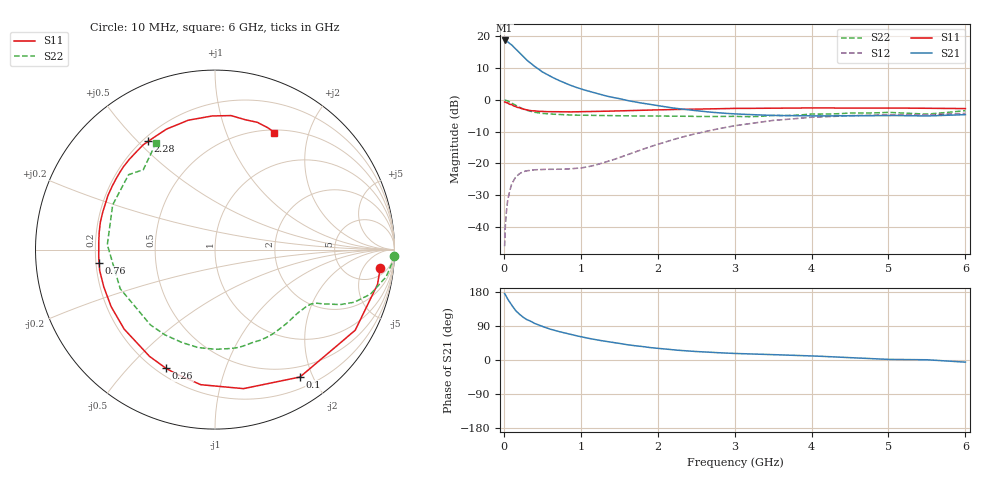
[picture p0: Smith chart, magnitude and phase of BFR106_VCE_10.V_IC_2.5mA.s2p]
! Infineon Technologies  Discrete & RF Semiconductors
! BFR106
! VCE =  10. V,  IC =  2.5 mA
! Common Emitter S-Parameters:  Nov 2015
# GHz  S  MA  R  50
!  f  S11  S21  S12  S22
! GHz  MAG  ANG  MAG  ANG  MAG  ANG  MAG  ANG
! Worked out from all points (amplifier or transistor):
!   210 points, 10 MHz to 6 GHz, reference 50 ohm
!   highest |S21| = 18.7 dB at 10 MHz (marker M1)
!   |S21| within 3 dB of that: start of sweep to 168 MHz
!   unconditionally stable (mu >= 1): 754.7 MHz to 1.821 GHz; 4.278 GHz to end of sweep
!   at 185 MHz: K = 0.26, MSG = 19.5 dB, |S12| = -23.6 dB
!   at 1.52 GHz: K = 1.14, MAG = 6.9 dB, |S12| = -18.0 dB
!   at 6 GHz: K = 1.02, MAG = -1.1 dB, |S12| = -4.2 dB
!   S11 on the Smith chart (normalised r, x): 10 MHz: 9, -12; 100 MHz: 0.35, -1.82; 260 MHz: 0.24, -0.64; 760 MHz: 0.21, -0.05; 2.28 GHz: 0.22, +0.54; 6 GHz: 0.53, +1.49
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0.01  0.9266 -6.2  8.62 175.4  0.005 89.4  0.9975 -1.9
0.02  0.926 -12.1  8.597 172.3  0.0105 85.5  0.9925 -3.8
0.025  0.9158 -15.0  8.512 170.4  0.0131 81.4  0.9875 -4.6
0.05  0.9012 -29.9  8.23 160.6  0.0262 73.3  0.9659 -9.0
0.1  0.8533 -56.3  7.386 145.1  0.0466 61.2  0.9011 -16.0
0.15  0.7907 -78.4  6.424 130.9  0.0601 50.5  0.8275 -20.8
0.2  0.7568 -96.0  5.58 121.3  0.0686 43.9  0.7688 -23.4
0.26  0.7153 -112.5  4.696 111.6  0.0747 38.1  0.7125 -25.3
0.3  0.6979 -121.5  4.219 106.6  0.0767 35.9  0.6862 -26.2
0.4  0.6726 -138.8  3.374 96.5  0.0796 32.1  0.6388 -27.9
0.44  0.6638 -143.7  3.121 93.6  0.0801 31.7  0.6289 -28.6
0.5  0.6602 -151.3  2.76 88.4  0.0808 31.1  0.6143 -29.6
0.6  0.6535 -161.4  2.363 81.6  0.0809 32.2  0.6005 -31.7
0.76  0.6498 -173.6  1.921 72.9  0.0813 36.4  0.586 -35.7
1.02  0.6528 170.6  1.464 60.7  0.0857 48.0  0.5744 -43.2
1.4  0.6683 153.3  1.103 46.8  0.1118 64.8  0.5692 -56.2
2.02  0.6971 130.2  0.803 30.2  0.2037 71.7  0.5574 -81.6
2.28  0.7087 121.7  0.727 25.5  0.2526 69.4  0.5527 -93.7
3.1  0.7358 99.6  0.595 16.7  0.4074 53.6  0.5464 -136.1
4.1  0.7494 81.9  0.56 10.0  0.539 30.3  0.5982 173.1
5.1  0.7453 70.5  0.568 1.4  0.5819 11.9  0.6286 137.7
6  0.7307 63.1  0.587 -5.6  0.6144 -0.1  0.6774 119.1
